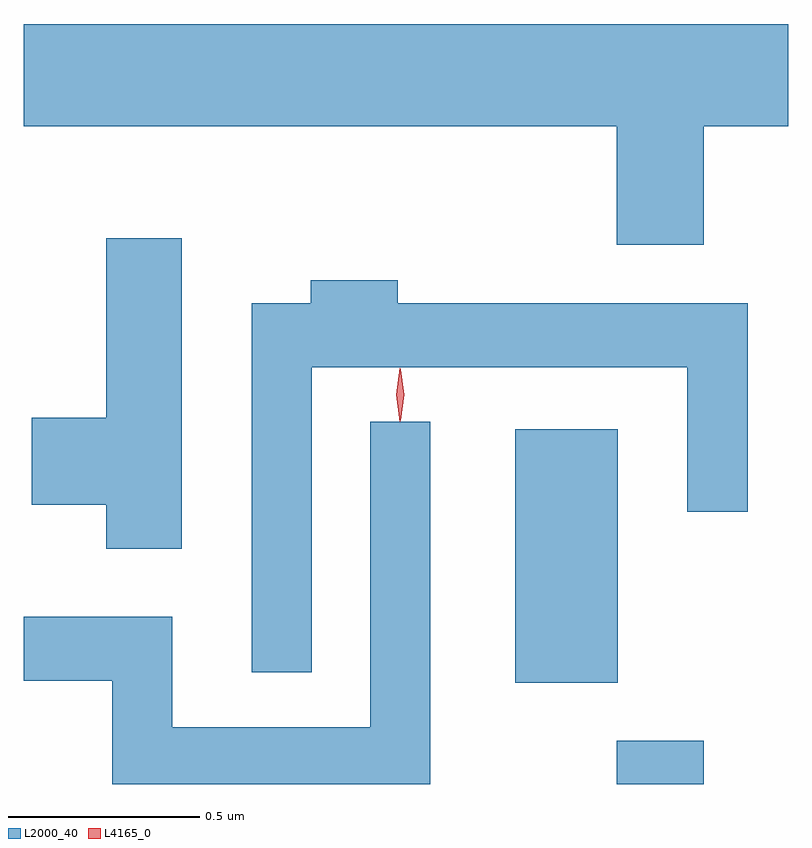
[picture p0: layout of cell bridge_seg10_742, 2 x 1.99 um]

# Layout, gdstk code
import gdstk
lib = gdstk.Library(unit=1e-6, precision=1e-09)
def R(c, l, rs):  # rectangles x0, y0, x1, y1
    for r in rs: c.add(gdstk.rectangle(r[:2], r[2:], *l))
def P(c, l, *ps):  # polygons
    for p in ps: c.add(gdstk.Polygon(p, *l))
L2000_40 = (2000, 40)
L4165_0 = (4165, 0)

bridge_seg10_742 = lib.new_cell('bridge_seg10_742')
R(bridge_seg10_742, L2000_40, [(1025.451,2114.416,1025.679,2114.529), (1025.186,2114.681,1025.454,2115.344)])
P(bridge_seg10_742, L2000_40, [(1025.679,2116.136),(1025.9,2116.136),(1025.9,2116.404),(1023.9,2116.404),(1023.9,2116.136),(1025.451,2116.136),(1025.451,2115.826),(1025.679,2115.826)],
  [(1024.314,2115.844),(1024.116,2115.844),(1024.116,2115.374),(1023.921,2115.374),(1023.921,2115.146),(1024.116,2115.146),(1024.116,2115.031),(1024.314,2115.031)],
  [(1024.654,2115.506),(1025.636,2115.506),(1025.636,2115.128),(1025.794,2115.128),(1025.794,2115.674),(1024.879,2115.674),(1024.879,2115.734),(1024.651,2115.734),(1024.651,2115.674),(1024.496,2115.674),(1024.496,2114.708),(1024.654,2114.708)],
  [(1024.964,2115.363),(1024.806,2115.363),(1024.806,2114.564),(1024.289,2114.564),(1024.289,2114.854),(1023.9,2114.854),(1023.9,2114.686),(1024.131,2114.686),(1024.131,2114.416),(1024.964,2114.416)])
P(bridge_seg10_742, L4165_0, [(1024.886,2115.367),(1024.886,2115.367),(1024.876,2115.434),(1024.886,2115.5),(1024.886,2115.501),(1024.886,2115.5),(1024.896,2115.434),(1024.886,2115.367)],
  [(1024.884,2115.364),(1024.875,2115.434),(1024.884,2115.503),(1024.885,2115.503),(1024.885,2115.503),(1024.895,2115.434),(1024.885,2115.364),(1024.885,2115.364)])

lib.write_gds('bridge_seg10_742.gds')
